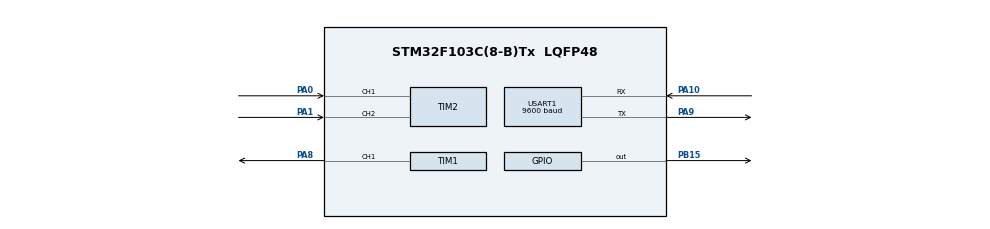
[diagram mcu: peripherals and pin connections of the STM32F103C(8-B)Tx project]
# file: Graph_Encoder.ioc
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Mcu.Family=STM32F1
Mcu.Name=STM32F103C(8-B)Tx
Mcu.Package=LQFP48
NVIC.PriorityGroup=NVIC_PRIORITYGROUP_4
NVIC.TIM1_BRK_IRQn=true\:0\:0\:false\:false\:true\:true\:true\:true
NVIC.TIM1_CC_IRQn=true\:0\:0\:false\:false\:true\:true\:true\:true
NVIC.TIM1_TRG_COM_IRQn=true\:0\:0\:false\:false\:true\:true\:true\:true
NVIC.TIM1_UP_IRQn=true\:0\:0\:false\:false\:true\:true\:true\:true
NVIC.TIM2_IRQn=true\:0\:0\:false\:false\:true\:true\:true\:true
PA0-WKUP.Signal=S_TIM2_CH1_ETR
PA1.Signal=S_TIM2_CH2
PA10.Mode=Asynchronous
PA10.Signal=USART1_RX
PA13.Mode=Serial_Wire
PA13.Signal=SYS_JTMS-SWDIO
PA14.Mode=Serial_Wire
PA14.Signal=SYS_JTCK-SWCLK
PA8.Signal=S_TIM1_CH1
PA9.Mode=Asynchronous
PA9.Signal=USART1_TX
PB15.Signal=GPIO_Output
PD0-OSC_IN.Mode=HSE-External-Oscillator
PD0-OSC_IN.Signal=RCC_OSC_IN
PD1-OSC_OUT.Mode=HSE-External-Oscillator
PD1-OSC_OUT.Signal=RCC_OSC_OUT
ProjectManager.HeapSize=0x200
ProjectManager.StackSize=0x400
ProjectManager.TargetToolchain=STM32CubeIDE
RCC.APB1Freq_Value=8000000
RCC.APB2Freq_Value=8000000
SH.S_TIM1_CH1.0=TIM1_CH1,PWM Generation1 CH1
SH.S_TIM2_CH1_ETR.0=TIM2_CH1,Encoder_Interface
SH.S_TIM2_CH2.0=TIM2_CH2,Encoder_Interface
TIM1.Channel-PWM\ Generation1\ CH1=TIM_CHANNEL_1
TIM1.Period=1000-1
TIM1.Prescaler=8-1
TIM1.Pulse-PWM\ Generation1\ CH1=500
TIM2.EncoderMode=TIM_ENCODERMODE_TI12
USART1.BaudRate=9600
USART1.VirtualMode=VM_ASYNC
VP_TIM1_VS_ClockSourceINT.Mode=Internal
board=custom

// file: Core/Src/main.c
/* USER CODE BEGIN Header */
/**
  ******************************************************************************
  * @file           : main.c
  * @brief          : Main program body
  ******************************************************************************
  * @attention
  *
  * Copyright (c) 2025 STMicroelectronics.
  * All rights reserved.
  *
  * This software is licensed under terms that can be found in the LICENSE file
  * in the root directory of this software component.
  * If no LICENSE file comes with this software, it is provided AS-IS.
  *
  ******************************************************************************
  */
/* USER CODE END Header */
#include "main.h"

/* USER CODE BEGIN Includes */
#include <stdio.h>
#include <string.h>
#include <stdlib.h>
/* USER CODE END Includes */

TIM_HandleTypeDef htim1;
TIM_HandleTypeDef htim2;

UART_HandleTypeDef huart1;

/* USER CODE BEGIN PV */
//uint32_t pulse_count = 0;
//uint32_t pulse_count_prev = 0;
//uint32_t pulse_count_cur = 0;
//uint32_t speed = 0;
//uint32_t count_round = 0;
int32_t last_count = 0;
int32_t current_count = 0;
int32_t delta_count = 0;
uint16_t pulse_count;
/* USER CODE END PV */

void SystemClock_Config(void);
static void MX_GPIO_Init(void);
static void MX_TIM2_Init(void);
static void MX_USART1_UART_Init(void);
static void MX_TIM1_Init(void);

int main(void)
{

  /* MCU Configuration--------------------------------------------------------*/

  /* Reset of all peripherals, Initializes the Flash interface and the Systick. */
  HAL_Init();

  /* Configure the system clock */
  SystemClock_Config();

  /* Initialize all configured peripherals */
  MX_GPIO_Init();
  MX_TIM2_Init();
  MX_USART1_UART_Init();
  MX_TIM1_Init();
  /* USER CODE BEGIN 2 */
  HAL_TIM_Encoder_Start_IT(&htim2, TIM_CHANNEL_ALL);
  HAL_TIM_PWM_Start_IT(&htim1, TIM_CHANNEL_1);
  HAL_GPIO_WritePin(GPIOB, GPIO_PIN_15, GPIO_PIN_SET);
  /* USER CODE END 2 */

  /* Infinite loop */
  while (1)
  {

    /* USER CODE BEGIN 3 */
	    current_count = __HAL_TIM_GET_COUNTER(&htim2);
	    delta_count = (int16_t)(current_count - last_count);
	    last_count = current_count;

	    char buffer[50];
	    sprintf(buffer, "%ld\n", delta_count);
	    HAL_UART_Transmit(&huart1, (uint8_t*)buffer, strlen(buffer), 1000);
	    HAL_Delay(1000);
  }
  /* USER CODE END 3 */
}

void SystemClock_Config(void)
{
  RCC_OscInitTypeDef RCC_OscInitStruct = {0};
  RCC_ClkInitTypeDef RCC_ClkInitStruct = {0};

  /** Initializes the RCC Oscillators according to the specified parameters
  * in the RCC_OscInitTypeDef structure.
  */
  RCC_OscInitStruct.OscillatorType = RCC_OSCILLATORTYPE_HSI;
  RCC_OscInitStruct.HSIState = RCC_HSI_ON;
  RCC_OscInitStruct.HSICalibrationValue = RCC_HSICALIBRATION_DEFAULT;
  RCC_OscInitStruct.PLL.PLLState = RCC_PLL_NONE;
  if (HAL_RCC_OscConfig(&RCC_OscInitStruct) != HAL_OK)
  {
    Error_Handler();
  }

  /** Initializes the CPU, AHB and APB buses clocks
  */
  RCC_ClkInitStruct.ClockType = RCC_CLOCKTYPE_HCLK|RCC_CLOCKTYPE_SYSCLK
                              |RCC_CLOCKTYPE_PCLK1|RCC_CLOCKTYPE_PCLK2;
  RCC_ClkInitStruct.SYSCLKSource = RCC_SYSCLKSOURCE_HSI;
  RCC_ClkInitStruct.AHBCLKDivider = RCC_SYSCLK_DIV1;
  RCC_ClkInitStruct.APB1CLKDivider = RCC_HCLK_DIV1;
  RCC_ClkInitStruct.APB2CLKDivider = RCC_HCLK_DIV1;

  if (HAL_RCC_ClockConfig(&RCC_ClkInitStruct, FLASH_LATENCY_0) != HAL_OK)
  {
    Error_Handler();
  }
}

static void MX_TIM1_Init(void)
{

  TIM_ClockConfigTypeDef sClockSourceConfig = {0};
  TIM_MasterConfigTypeDef sMasterConfig = {0};
  TIM_OC_InitTypeDef sConfigOC = {0};
  TIM_BreakDeadTimeConfigTypeDef sBreakDeadTimeConfig = {0};

  htim1.Instance = TIM1;
  htim1.Init.Prescaler = 8-1;
  htim1.Init.CounterMode = TIM_COUNTERMODE_UP;
  htim1.Init.Period = 1000-1;
  htim1.Init.ClockDivision = TIM_CLOCKDIVISION_DIV1;
  htim1.Init.RepetitionCounter = 0;
  htim1.Init.AutoReloadPreload = TIM_AUTORELOAD_PRELOAD_DISABLE;
  if (HAL_TIM_Base_Init(&htim1) != HAL_OK)
  {
    Error_Handler();
  }
  sClockSourceConfig.ClockSource = TIM_CLOCKSOURCE_INTERNAL;
  if (HAL_TIM_ConfigClockSource(&htim1, &sClockSourceConfig) != HAL_OK)
  {
    Error_Handler();
  }
  if (HAL_TIM_PWM_Init(&htim1) != HAL_OK)
  {
    Error_Handler();
  }
  sMasterConfig.MasterOutputTrigger = TIM_TRGO_RESET;
  sMasterConfig.MasterSlaveMode = TIM_MASTERSLAVEMODE_DISABLE;
  if (HAL_TIMEx_MasterConfigSynchronization(&htim1, &sMasterConfig) != HAL_OK)
  {
    Error_Handler();
  }
  sConfigOC.OCMode = TIM_OCMODE_PWM1;
  sConfigOC.Pulse = 500;
  sConfigOC.OCPolarity = TIM_OCPOLARITY_HIGH;
  sConfigOC.OCNPolarity = TIM_OCNPOLARITY_HIGH;
  sConfigOC.OCFastMode = TIM_OCFAST_DISABLE;
  sConfigOC.OCIdleState = TIM_OCIDLESTATE_RESET;
  sConfigOC.OCNIdleState = TIM_OCNIDLESTATE_RESET;
  if (HAL_TIM_PWM_ConfigChannel(&htim1, &sConfigOC, TIM_CHANNEL_1) != HAL_OK)
  {
    Error_Handler();
  }
  sBreakDeadTimeConfig.OffStateRunMode = TIM_OSSR_DISABLE;
  sBreakDeadTimeConfig.OffStateIDLEMode = TIM_OSSI_DISABLE;
  sBreakDeadTimeConfig.LockLevel = TIM_LOCKLEVEL_OFF;
  sBreakDeadTimeConfig.DeadTime = 0;
  sBreakDeadTimeConfig.BreakState = TIM_BREAK_DISABLE;
  sBreakDeadTimeConfig.BreakPolarity = TIM_BREAKPOLARITY_HIGH;
  sBreakDeadTimeConfig.AutomaticOutput = TIM_AUTOMATICOUTPUT_DISABLE;
  if (HAL_TIMEx_ConfigBreakDeadTime(&htim1, &sBreakDeadTimeConfig) != HAL_OK)
  {
    Error_Handler();
  }
  HAL_TIM_MspPostInit(&htim1);

}

static void MX_TIM2_Init(void)
{

  TIM_Encoder_InitTypeDef sConfig = {0};
  TIM_MasterConfigTypeDef sMasterConfig = {0};

  htim2.Instance = TIM2;
  htim2.Init.Prescaler = 0;
  htim2.Init.CounterMode = TIM_COUNTERMODE_UP;
  htim2.Init.Period = 65535;
  htim2.Init.ClockDivision = TIM_CLOCKDIVISION_DIV1;
  htim2.Init.AutoReloadPreload = TIM_AUTORELOAD_PRELOAD_DISABLE;
  sConfig.EncoderMode = TIM_ENCODERMODE_TI12;
  sConfig.IC1Polarity = TIM_ICPOLARITY_RISING;
  sConfig.IC1Selection = TIM_ICSELECTION_DIRECTTI;
  sConfig.IC1Prescaler = TIM_ICPSC_DIV1;
  sConfig.IC1Filter = 0;
  sConfig.IC2Polarity = TIM_ICPOLARITY_RISING;
  sConfig.IC2Selection = TIM_ICSELECTION_DIRECTTI;
  sConfig.IC2Prescaler = TIM_ICPSC_DIV1;
  sConfig.IC2Filter = 0;
  if (HAL_TIM_Encoder_Init(&htim2, &sConfig) != HAL_OK)
  {
    Error_Handler();
  }
  sMasterConfig.MasterOutputTrigger = TIM_TRGO_RESET;
  sMasterConfig.MasterSlaveMode = TIM_MASTERSLAVEMODE_DISABLE;
  if (HAL_TIMEx_MasterConfigSynchronization(&htim2, &sMasterConfig) != HAL_OK)
  {
    Error_Handler();
  }

}

static void MX_USART1_UART_Init(void)
{

  huart1.Instance = USART1;
  huart1.Init.BaudRate = 9600;
  huart1.Init.WordLength = UART_WORDLENGTH_8B;
  huart1.Init.StopBits = UART_STOPBITS_1;
  huart1.Init.Parity = UART_PARITY_NONE;
  huart1.Init.Mode = UART_MODE_TX_RX;
  huart1.Init.HwFlowCtl = UART_HWCONTROL_NONE;
  huart1.Init.OverSampling = UART_OVERSAMPLING_16;
  if (HAL_UART_Init(&huart1) != HAL_OK)
  {
    Error_Handler();
  }

}

static void MX_GPIO_Init(void)
{
  GPIO_InitTypeDef GPIO_InitStruct = {0};

  /* GPIO Ports Clock Enable */
  __HAL_RCC_GPIOD_CLK_ENABLE();
  __HAL_RCC_GPIOA_CLK_ENABLE();
  __HAL_RCC_GPIOB_CLK_ENABLE();

  /*Configure GPIO pin Output Level */
  HAL_GPIO_WritePin(GPIOB, GPIO_PIN_15, GPIO_PIN_RESET);

  /*Configure GPIO pin : PB15 */
  GPIO_InitStruct.Pin = GPIO_PIN_15;
  GPIO_InitStruct.Mode = GPIO_MODE_OUTPUT_PP;
  GPIO_InitStruct.Pull = GPIO_NOPULL;
  GPIO_InitStruct.Speed = GPIO_SPEED_FREQ_LOW;
  HAL_GPIO_Init(GPIOB, &GPIO_InitStruct);

}

/* USER CODE BEGIN 4 */
//void HAL_TIM_IC_CaptureCallback(TIM_HandleTypeDef *htim)
//{
//    if(htim->Instance == TIM2){
//        pulse_count = __HAL_TIM_GET_COUNTER(&htim2);
//    }
//}
/* USER CODE END 4 */

void Error_Handler(void)
{
  __disable_irq();
  while (1)
  {
  }
}
